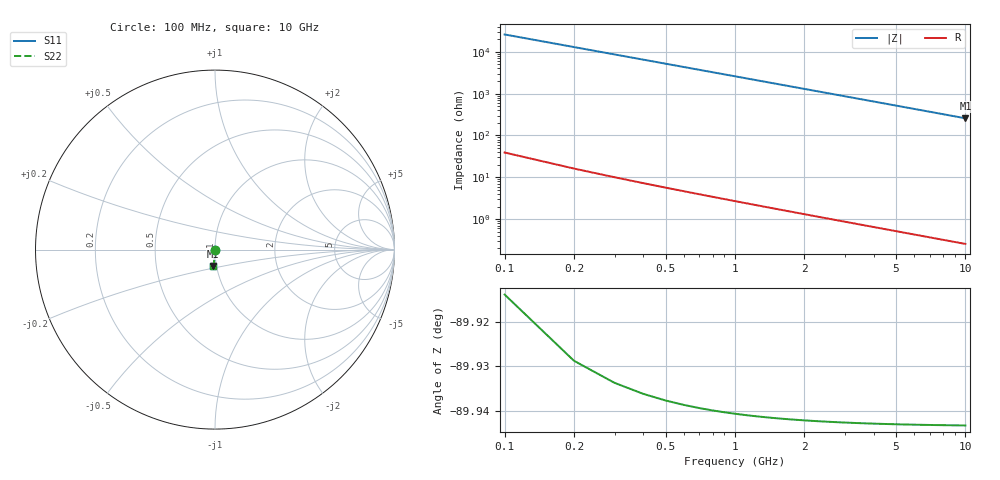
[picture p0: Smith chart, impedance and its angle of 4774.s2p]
# Hz S RI R 50.00
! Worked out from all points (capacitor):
!   100 points, 100 MHz to 10 GHz, reference 50 ohm
!   read as one part in shunt: C = 61.2 fF near 100 MHz
!   lowest |Z| = 258 ohm at 10 GHz (marker M1)
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1e8  1.32e-05 -0.00092  1 -0.001  1 -0.001  1.32e-05 -0.00092
2e8  9.62e-06 -0.00184  1 -0.00201  1 -0.00201  9.62e-06 -0.00184
3e8  4.14e-06 -0.00276  1 -0.00301  1 -0.00301  4.14e-06 -0.00276
4e8  -3.19e-06 -0.00368  1 -0.00401  1 -0.00401  -3.19e-06 -0.00368
5e8  -1.24e-05 -0.0046  1 -0.00501  1 -0.00501  -1.24e-05 -0.0046
6e8  -2.34e-05 -0.00552  0.9999 -0.00602  0.9999 -0.00602  -2.34e-05 -0.00552
7e8  -3.63e-05 -0.00644  0.9999 -0.00702  0.9999 -0.00702  -3.63e-05 -0.00644
8e8  -5.11e-05 -0.00736  0.9999 -0.00802  0.9999 -0.00802  -5.11e-05 -0.00736
9e8  -6.77e-05 -0.00828  0.9999 -0.00903  0.9999 -0.00903  -6.77e-05 -0.00828
1.1e9  -0.000106 -0.0101  0.9999 -0.011  0.9999 -0.011  -0.000106 -0.0101
1.4e9  -0.000178 -0.0129  0.9998 -0.014  0.9998 -0.014  -0.000178 -0.0129
1.8e9  -0.0003 -0.0166  0.9997 -0.0181  0.9997 -0.0181  -0.0003 -0.0166
2.1e9  -0.000411 -0.0193  0.9996 -0.0211  0.9996 -0.0211  -0.000411 -0.0193
2.5e9  -0.000586 -0.023  0.9994 -0.0251  0.9994 -0.0251  -0.000586 -0.023
2.9e9  -0.000789 -0.0267  0.9992 -0.0291  0.9992 -0.0291  -0.000789 -0.0267
3.4e9  -0.00109 -0.0313  0.9989 -0.0341  0.9989 -0.0341  -0.00109 -0.0313
4.2e9  -0.00166 -0.0387  0.9983 -0.0422  0.9983 -0.0422  -0.00166 -0.0387
5.1e9  -0.00245 -0.047  0.9975 -0.0513  0.9975 -0.0513  -0.00245 -0.047
5.9e9  -0.00327 -0.0544  0.9967 -0.0593  0.9967 -0.0593  -0.00327 -0.0544
6.7e9  -0.00422 -0.0617  0.9957 -0.0673  0.9957 -0.0673  -0.00422 -0.0617
8.4e9  -0.00663 -0.0773  0.9933 -0.0844  0.9933 -0.0844  -0.00663 -0.0773
1e10  -0.0094 -0.092  0.9905 -0.1004  0.9905 -0.1004  -0.0094 -0.092
